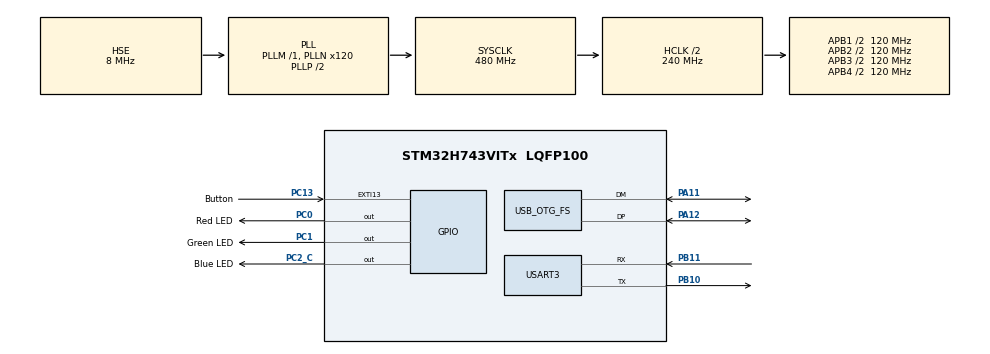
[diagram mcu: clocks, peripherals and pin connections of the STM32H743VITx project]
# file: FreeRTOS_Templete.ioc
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Mcu.Family=STM32H7
Mcu.Name=STM32H743VITx
Mcu.Package=LQFP100
NVIC.EXTI15_10_IRQn=true\:5\:0\:true\:false\:true\:true\:true\:true
NVIC.PriorityGroup=NVIC_PRIORITYGROUP_4
NVIC.TIM6_DAC_IRQn=true\:15\:0\:false\:false\:true\:false\:true\:true
NVIC.TimeBase=TIM6_DAC_IRQn
NVIC.TimeBaseIP=TIM6
NVIC.USART3_IRQn=true\:0\:0\:false\:false\:true\:true\:true\:true
PA11.Mode=Host_Only
PA11.Signal=USB_OTG_FS_DM
PA12.Mode=Host_Only
PA12.Signal=USB_OTG_FS_DP
PA13\ (JTMS/SWDIO).Mode=Trace_Asynchronous_SW
PA13\ (JTMS/SWDIO).Signal=DEBUG_JTMS-SWDIO
PA14\ (JTCK/SWCLK).Mode=Trace_Asynchronous_SW
PA14\ (JTCK/SWCLK).Signal=DEBUG_JTCK-SWCLK
PB10.Mode=Asynchronous
PB10.Signal=USART3_TX
PB11.Mode=Asynchronous
PB11.Signal=USART3_RX
PB3\ (JTDO/TRACESWO).Mode=Trace_Asynchronous_SW
PB3\ (JTDO/TRACESWO).Signal=DEBUG_JTDO-SWO
PC0.GPIO_Label=Red LED
PC0.PinState=GPIO_PIN_SET
PC0.Signal=GPIO_Output
PC1.GPIO_Label=Green LED
PC1.PinState=GPIO_PIN_SET
PC1.Signal=GPIO_Output
PC13.GPIO_Label=Button
PC13.GPIO_ModeDefaultEXTI=GPIO_MODE_IT_RISING
PC13.GPIO_PuPd=GPIO_NOPULL
PC13.Signal=GPXTI13
PC2_C.GPIO_Label=Blue LED
PC2_C.PinState=GPIO_PIN_SET
PC2_C.Signal=GPIO_Output
PH0-OSC_IN\ (PH0).Mode=HSE-External-Oscillator
PH0-OSC_IN\ (PH0).Signal=RCC_OSC_IN
PH1-OSC_OUT\ (PH1).Mode=HSE-External-Oscillator
PH1-OSC_OUT\ (PH1).Signal=RCC_OSC_OUT
ProjectManager.HeapSize=0x200
ProjectManager.StackSize=0x400
ProjectManager.TargetToolchain=STM32CubeIDE
RCC.ADCFreq_Value=16125000
RCC.APB1Freq_Value=120000000
RCC.APB2Freq_Value=120000000
RCC.APB3Freq_Value=120000000
RCC.APB4Freq_Value=120000000
RCC.CortexFreq_Value=480000000
RCC.D1PPRE=RCC_APB3_DIV2
RCC.D2PPRE1=RCC_APB1_DIV2
RCC.D2PPRE2=RCC_APB2_DIV2
RCC.D3PPRE=RCC_APB4_DIV2
RCC.DIVM1=1
RCC.DIVN1=120
RCC.DIVQ1=15
RCC.HCLKFreq_Value=240000000
RCC.HPRE=RCC_HCLK_DIV2
RCC.HSE_VALUE=8000000
RCC.PLL1_VCI_Range-AdvancedSettings=RCC_PLL1VCIRANGE_0
RCC.PLL2FRACN=0
RCC.PLL2_VCI_Range-AdvancedSettings=RCC_PLL2VCIRANGE_0
RCC.PLL2_VCO_SEL-AdvancedSettings=RCC_PLL2VCOMEDIUM
RCC.PLL3FRACN=0
RCC.PLL3_VCI_Range-AdvancedSettings=RCC_PLL3VCIRANGE_0
RCC.PLL3_VCO_SEL-AdvancedSettings=RCC_PLL3VCOMEDIUM
RCC.PLLFRACN=0
RCC.PLLSourceVirtual=RCC_PLLSOURCE_HSE
RCC.SYSCLKFreq_VALUE=480000000
RCC.SYSCLKSource=RCC_SYSCLKSOURCE_PLLCLK
RCC.USBFreq_Value=64000000
USART3.VirtualMode-Asynchronous=VM_ASYNC
USB_OTG_FS.VirtualMode=Host_Only
USB_OTG_FS.phy_itface=HCD_PHY_EMBEDDED
VP_SYS_VS_tim6.Mode=TIM6
board=custom

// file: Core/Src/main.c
/* USER CODE BEGIN Header */
/**
  ******************************************************************************
  * @file           : main.c
  * @brief          : Main program body
  ******************************************************************************
  * @attention
  *
  * Copyright (c) 2022 STMicroelectronics.
  * All rights reserved.
  *
  * This software is licensed under terms that can be found in the LICENSE file
  * in the root directory of this software component.
  * If no LICENSE file comes with this software, it is provided AS-IS.
  *
  ******************************************************************************
  */
/* USER CODE END Header */
#include "main.h"

UART_HandleTypeDef huart3;

HCD_HandleTypeDef hhcd_USB_OTG_FS;

void SystemClock_Config(void);
static void MX_GPIO_Init(void);
static void MX_USB_OTG_FS_HCD_Init(void);
static void MX_USART3_UART_Init(void);
/* USER CODE BEGIN PFP */
extern void SEGGER_UART_init(U32 baud);
void printmsg(char *format,...);
void USART_Send(char* user_data);
/* USER CODE END PFP */

/* USER CODE BEGIN 0 */
char user_msg[250];
char *user_data = "";

//#ifdef USE_SEMIHOSTING
//extern void initialise_monitor_handles(void);
//#endif
/* USER CODE END 0 */

int main(void)
{

  /* MCU Configuration--------------------------------------------------------*/

  /* Reset of all peripherals, Initializes the Flash interface and the Systick. */
  HAL_Init();

  /* Configure the system clock */
  SystemClock_Config();

  /* Initialize all configured peripherals */
  MX_GPIO_Init();
  MX_USB_OTG_FS_HCD_Init();
  MX_USART3_UART_Init();
  /* USER CODE BEGIN 2 */
  // Start LED
    int Start_Counter = 0;
    while(Start_Counter < 5)
    {
  	  HAL_GPIO_TogglePin(GPIOC, LED_Blue_PIN);
  	  HAL_Delay(200);
  	  HAL_GPIO_TogglePin(GPIOC, LED_Blue_PIN);
  	  HAL_Delay(200);
  	  Start_Counter++;
    }

    //user_data = "Start of program\r\n";
    	//HAL_UART_Transmit(&huart2,(uint8_t*)user_data,strlen(user_data), HAL_MAX_DELAY);

    	// Enable CCYCCNT Counter for SEGGER SYSTEM VIEW
    	DWT->CTRL |= (1 << 0);

    	// Used for SEGGER UART
    	SEGGER_UART_init(500000);

    	//Starting SEGGER SYSVIEW
    	  SEGGER_SYSVIEW_Conf();
    	  //SEGGER_SYSVIEW_Start();

  /* USER CODE END 2 */

  /* Infinite loop */
  while (1)
  {

    /* USER CODE BEGIN 3 */
  	  HAL_GPIO_TogglePin(GPIOC, LED_Green_PIN);
  	  HAL_Delay(500);
  	  HAL_GPIO_TogglePin(GPIOC, LED_Green_PIN);
  	  HAL_Delay(500);
  	  Start_Counter++;
  }
  /* USER CODE END 3 */
}

void SystemClock_Config(void)
{
  RCC_OscInitTypeDef RCC_OscInitStruct = {0};
  RCC_ClkInitTypeDef RCC_ClkInitStruct = {0};

  /** Supply configuration update enable
  */
  HAL_PWREx_ConfigSupply(PWR_LDO_SUPPLY);

  /** Configure the main internal regulator output voltage
  */
  __HAL_PWR_VOLTAGESCALING_CONFIG(PWR_REGULATOR_VOLTAGE_SCALE1);

  while(!__HAL_PWR_GET_FLAG(PWR_FLAG_VOSRDY)) {}

  __HAL_RCC_SYSCFG_CLK_ENABLE();
  __HAL_PWR_VOLTAGESCALING_CONFIG(PWR_REGULATOR_VOLTAGE_SCALE0);

  while(!__HAL_PWR_GET_FLAG(PWR_FLAG_VOSRDY)) {}

  /** Initializes the RCC Oscillators according to the specified parameters
  * in the RCC_OscInitTypeDef structure.
  */
  RCC_OscInitStruct.OscillatorType = RCC_OSCILLATORTYPE_HSE;
  RCC_OscInitStruct.HSEState = RCC_HSE_ON;
  RCC_OscInitStruct.PLL.PLLState = RCC_PLL_ON;
  RCC_OscInitStruct.PLL.PLLSource = RCC_PLLSOURCE_HSE;
  RCC_OscInitStruct.PLL.PLLM = 1;
  RCC_OscInitStruct.PLL.PLLN = 120;
  RCC_OscInitStruct.PLL.PLLP = 2;
  RCC_OscInitStruct.PLL.PLLQ = 15;
  RCC_OscInitStruct.PLL.PLLR = 2;
  RCC_OscInitStruct.PLL.PLLRGE = RCC_PLL1VCIRANGE_3;
  RCC_OscInitStruct.PLL.PLLVCOSEL = RCC_PLL1VCOWIDE;
  RCC_OscInitStruct.PLL.PLLFRACN = 0;
  if (HAL_RCC_OscConfig(&RCC_OscInitStruct) != HAL_OK)
  {
    Error_Handler();
  }

  /** Initializes the CPU, AHB and APB buses clocks
  */
  RCC_ClkInitStruct.ClockType = RCC_CLOCKTYPE_HCLK|RCC_CLOCKTYPE_SYSCLK
                              |RCC_CLOCKTYPE_PCLK1|RCC_CLOCKTYPE_PCLK2
                              |RCC_CLOCKTYPE_D3PCLK1|RCC_CLOCKTYPE_D1PCLK1;
  RCC_ClkInitStruct.SYSCLKSource = RCC_SYSCLKSOURCE_PLLCLK;
  RCC_ClkInitStruct.SYSCLKDivider = RCC_SYSCLK_DIV1;
  RCC_ClkInitStruct.AHBCLKDivider = RCC_HCLK_DIV2;
  RCC_ClkInitStruct.APB3CLKDivider = RCC_APB3_DIV2;
  RCC_ClkInitStruct.APB1CLKDivider = RCC_APB1_DIV2;
  RCC_ClkInitStruct.APB2CLKDivider = RCC_APB2_DIV2;
  RCC_ClkInitStruct.APB4CLKDivider = RCC_APB4_DIV2;

  if (HAL_RCC_ClockConfig(&RCC_ClkInitStruct, FLASH_LATENCY_4) != HAL_OK)
  {
    Error_Handler();
  }
}

static void MX_USART3_UART_Init(void)
{

  huart3.Instance = USART3;
  huart3.Init.BaudRate = 115200;
  huart3.Init.WordLength = UART_WORDLENGTH_8B;
  huart3.Init.StopBits = UART_STOPBITS_1;
  huart3.Init.Parity = UART_PARITY_NONE;
  huart3.Init.Mode = UART_MODE_TX_RX;
  huart3.Init.HwFlowCtl = UART_HWCONTROL_NONE;
  huart3.Init.OverSampling = UART_OVERSAMPLING_16;
  huart3.Init.OneBitSampling = UART_ONE_BIT_SAMPLE_DISABLE;
  huart3.Init.ClockPrescaler = UART_PRESCALER_DIV1;
  huart3.AdvancedInit.AdvFeatureInit = UART_ADVFEATURE_NO_INIT;
  if (HAL_UART_Init(&huart3) != HAL_OK)
  {
    Error_Handler();
  }
  if (HAL_UARTEx_SetTxFifoThreshold(&huart3, UART_TXFIFO_THRESHOLD_1_8) != HAL_OK)
  {
    Error_Handler();
  }
  if (HAL_UARTEx_SetRxFifoThreshold(&huart3, UART_RXFIFO_THRESHOLD_1_8) != HAL_OK)
  {
    Error_Handler();
  }
  if (HAL_UARTEx_DisableFifoMode(&huart3) != HAL_OK)
  {
    Error_Handler();
  }

}

static void MX_USB_OTG_FS_HCD_Init(void)
{

  hhcd_USB_OTG_FS.Instance = USB_OTG_FS;
  hhcd_USB_OTG_FS.Init.Host_channels = 16;
  hhcd_USB_OTG_FS.Init.speed = HCD_SPEED_FULL;
  hhcd_USB_OTG_FS.Init.dma_enable = DISABLE;
  hhcd_USB_OTG_FS.Init.phy_itface = HCD_PHY_EMBEDDED;
  hhcd_USB_OTG_FS.Init.Sof_enable = DISABLE;
  if (HAL_HCD_Init(&hhcd_USB_OTG_FS) != HAL_OK)
  {
    Error_Handler();
  }

}

static void MX_GPIO_Init(void)
{
  GPIO_InitTypeDef GPIO_InitStruct = {0};

  /* GPIO Ports Clock Enable */
  __HAL_RCC_GPIOC_CLK_ENABLE();
  __HAL_RCC_GPIOH_CLK_ENABLE();
  __HAL_RCC_GPIOB_CLK_ENABLE();
  __HAL_RCC_GPIOA_CLK_ENABLE();

  /*Configure GPIO pin Output Level */
  HAL_GPIO_WritePin(GPIOC, Red_LED_Pin|Green_LED_Pin|Blue_LED_Pin, GPIO_PIN_SET);

  /*Configure GPIO pin : Button_Pin */
  GPIO_InitStruct.Pin = Button_Pin;
  GPIO_InitStruct.Mode = GPIO_MODE_IT_RISING;
  GPIO_InitStruct.Pull = GPIO_NOPULL;
  HAL_GPIO_Init(Button_GPIO_Port, &GPIO_InitStruct);

  /*Configure GPIO pins : Red_LED_Pin Green_LED_Pin Blue_LED_Pin */
  GPIO_InitStruct.Pin = Red_LED_Pin|Green_LED_Pin|Blue_LED_Pin;
  GPIO_InitStruct.Mode = GPIO_MODE_OUTPUT_PP;
  GPIO_InitStruct.Pull = GPIO_NOPULL;
  GPIO_InitStruct.Speed = GPIO_SPEED_FREQ_LOW;
  HAL_GPIO_Init(GPIOC, &GPIO_InitStruct);

  /* EXTI interrupt init*/
  HAL_NVIC_SetPriority(EXTI15_10_IRQn, 5, 0);
  HAL_NVIC_EnableIRQ(EXTI15_10_IRQn);

}

/* USER CODE BEGIN 4 */

//void printmsg(char *format,...)
// {
//
//	char str[80];
//
//	/*Extract the the argument list using VA apis */
//	va_list args;
//	va_start(args, format);
//	vsprintf(str, format,args);
//	HAL_UART_Transmit(&huart2,(uint8_t *)str, strlen(str),HAL_MAX_DELAY);
//	va_end(args);
//
// }

//void USART_Send(char* user_data)
//{
//	if (HAL_UART_Transmit(&huart2,(uint8_t*)user_data,strlen(user_data), HAL_MAX_DELAY) != HAL_OK)
//	{
//		// Error occurred
//		Error_Handler();
//	}
//}

/* USER CODE END 4 */

void HAL_TIM_PeriodElapsedCallback(TIM_HandleTypeDef *htim)
{
  if (htim->Instance == TIM6) {
    HAL_IncTick();
  }
}

void Error_Handler(void)
{
  /* USER CODE BEGIN Error_Handler_Debug */
  /* User can add his own implementation to report the HAL error return state */
  __disable_irq();
  while (1)
  {
		HAL_GPIO_TogglePin(GPIOC, LED_Red_PIN);
		HAL_Delay(100);
		HAL_GPIO_TogglePin(GPIOC, LED_Red_PIN);
		HAL_Delay(100);
  }
  /* USER CODE END Error_Handler_Debug */
}
